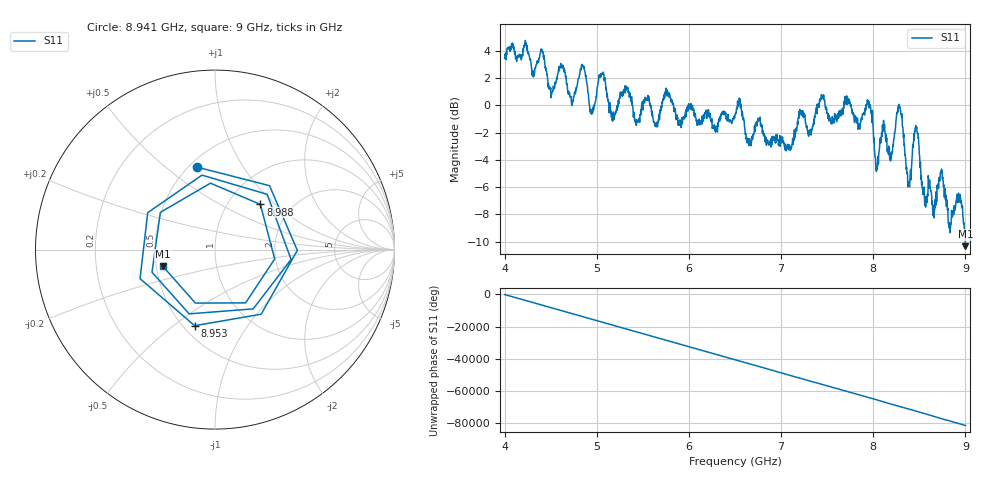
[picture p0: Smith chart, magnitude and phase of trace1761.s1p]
! Created with skrf 1.8.0 (http://scikit-rf.org).
# Hz S RI R 50.0
!freq ReS11 ImS11
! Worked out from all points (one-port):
!   1601 points, 4 GHz to 9 GHz, reference 50 ohm
!   lowest |S11| = -10.3 dB at 9 GHz (marker M1), VSWR 1.88, Z = 27.1 - j5.61 ohm
!   |S11| at or under -10 dB: 8.997272 GHz to end of sweep
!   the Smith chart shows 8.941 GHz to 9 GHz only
!   S11 on the Smith chart (normalised r, x): 8.941 GHz: 0.55, +0.65; 8.953 GHz: 0.57, -0.60; 8.988 GHz: 1.40, +0.81; 9 GHz: 0.54, -0.11
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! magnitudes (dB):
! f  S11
! 4 GHz  3.5
! 4.406 GHz  4.0
! 4.506 GHz  0.9
! 4.625 GHz  2.8
! 4.731 GHz  0.4
! 4.856 GHz  2.9
! 4.944 GHz  -0.6
! 5.05 GHz  2.3
! 5.175 GHz  -1.1
! 5.25 GHz  0.7
! 5.875 GHz  -1.0
! 6.5 GHz  -0.7
! 7.125 GHz  -2.5
! 7.441 GHz  0.5
! 7.75 GHz  0.2
! 7.956 GHz  -0.2
! 8.038 GHz  -4.5
! 8.112 GHz  -1.1
! 8.197 GHz  -3.8
! 8.288 GHz  -0.1
! 8.375 GHz  -6.0
! 8.466 GHz  -1.7
! 8.559 GHz  -7.3
! 8.838 GHz  -9.0
! 8.941 GHz  -6.5
! 8.953 GHz  -7.2
! 8.988 GHz  -9.0
! 9 GHz  -10.3
